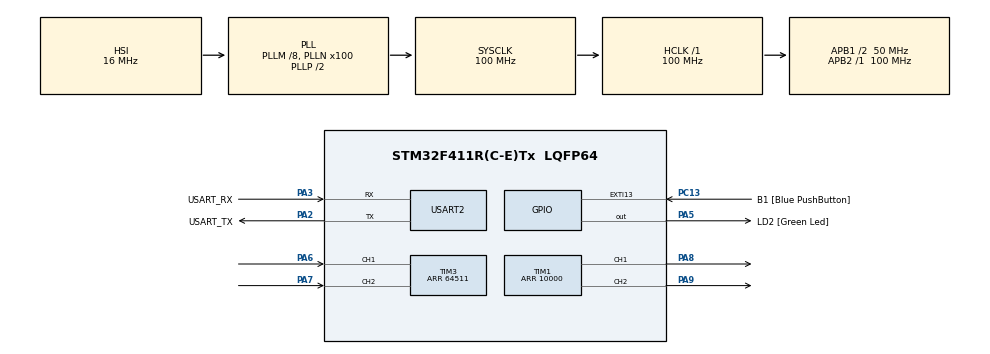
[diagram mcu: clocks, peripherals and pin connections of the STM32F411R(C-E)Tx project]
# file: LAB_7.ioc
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Mcu.Family=STM32F4
Mcu.Name=STM32F411R(C-E)Tx
Mcu.Package=LQFP64
NVIC.PriorityGroup=NVIC_PRIORITYGROUP_0
NVIC.TIM2_IRQn=true\:0\:0\:false\:false\:true\:true\:true
PA13.GPIO_Label=TMS
PA13.Mode=Serial_Wire
PA13.Signal=SYS_JTMS-SWDIO
PA14.GPIO_Label=TCK
PA14.Mode=Serial_Wire
PA14.Signal=SYS_JTCK-SWCLK
PA2.GPIO_Label=USART_TX
PA2.Mode=Asynchronous
PA2.Signal=USART2_TX
PA3.GPIO_Label=USART_RX
PA3.Mode=Asynchronous
PA3.Signal=USART2_RX
PA5.GPIO_Label=LD2 [Green Led]
PA5.Signal=GPIO_Output
PA6.Signal=S_TIM3_CH1
PA7.Signal=S_TIM3_CH2
PA8.Signal=S_TIM1_CH1
PA9.Signal=S_TIM1_CH2
PB3.GPIO_Label=SWO
PB3.Signal=SYS_JTDO-SWO
PC13-ANTI_TAMP.GPIO_Label=B1 [Blue PushButton]
PC13-ANTI_TAMP.GPIO_ModeDefaultEXTI=GPIO_MODE_IT_FALLING
PC13-ANTI_TAMP.Signal=GPXTI13
PC14-OSC32_IN.Mode=LSE-External-Oscillator
PC14-OSC32_IN.Signal=RCC_OSC32_IN
PC15-OSC32_OUT.Mode=LSE-External-Oscillator
PC15-OSC32_OUT.Signal=RCC_OSC32_OUT
PH0\ -\ OSC_IN.Mode=HSE-External-Clock-Source
PH0\ -\ OSC_IN.Signal=RCC_OSC_IN
PH1\ -\ OSC_OUT.Mode=HSE-External-Clock-Source
PH1\ -\ OSC_OUT.Signal=RCC_OSC_OUT
ProjectManager.HeapSize=0x200
ProjectManager.StackSize=0x400
ProjectManager.TargetToolchain=STM32CubeIDE
RCC.48MHZClocksFreq_Value=50000000
RCC.AHBFreq_Value=100000000
RCC.APB1CLKDivider=RCC_HCLK_DIV2
RCC.APB1Freq_Value=50000000
RCC.APB1TimFreq_Value=100000000
RCC.APB2Freq_Value=100000000
RCC.APB2TimFreq_Value=100000000
RCC.CortexFreq_Value=100000000
RCC.FLatency-AdvancedSettings=FLASH_LATENCY_3
RCC.HCLKFreq_Value=100000000
RCC.HSE_VALUE=8000000
RCC.HSI_VALUE=16000000
RCC.PLLM=8
RCC.PLLN=100
RCC.SYSCLKFreq_VALUE=100000000
RCC.SYSCLKSource=RCC_SYSCLKSOURCE_PLLCLK
RCC.VCOOutputFreq_Value=200000000
SH.S_TIM1_CH1.0=TIM1_CH1,PWM Generation1 CH1
SH.S_TIM1_CH2.0=TIM1_CH2,PWM Generation2 CH2
SH.S_TIM3_CH1.0=TIM3_CH1,Encoder_Interface
SH.S_TIM3_CH2.0=TIM3_CH2,Encoder_Interface
TIM1.Channel-PWM\ Generation1\ CH1=TIM_CHANNEL_1
TIM1.Channel-PWM\ Generation2\ CH2=TIM_CHANNEL_2
TIM1.Period=10000
TIM2.Prescaler=99
TIM3.EncoderMode=TIM_ENCODERMODE_TI12
TIM3.IC1Filter=2
TIM3.IC2Filter=2
TIM3.Period=64511
USART2.VirtualMode=VM_ASYNC
VP_TIM1_VS_ClockSourceINT.Mode=Internal
VP_TIM2_VS_ClockSourceINT.Mode=Internal
board=NUCLEO-F411RE

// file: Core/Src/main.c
/* USER CODE BEGIN Header */
/**
  ******************************************************************************
  * @file           : main.c
  * @brief          : Main program body
  ******************************************************************************
  * @attention
  *
  * <h2><center>&copy; Copyright (c) 2021 STMicroelectronics.
  * All rights reserved.</center></h2>
  *
  * This software component is licensed by ST under BSD 3-Clause license,
  * the "License"; You may not use this file except in compliance with the
  * License. You may obtain a copy of the License at:
  *                        opensource.org/licenses/BSD-3-Clause
  *
  ******************************************************************************
  */
/* USER CODE END Header */
#include "main.h"

TIM_HandleTypeDef htim1;
TIM_HandleTypeDef htim2;
TIM_HandleTypeDef htim3;

UART_HandleTypeDef huart2;

/* USER CODE BEGIN PV */
uint64_t _micros = 0;
float EncoderVel = 0;
uint64_t Timestamp_Encoder = 0;

uint16_t PWMOut = 0;
int16_t PWM = 0;
float Set_RPM = 0;
float Current_RPM = 0;

float error = 0;
float error_prev = 0;
float error_dot = 0;
float error_integal = 0;
float Kp = 1;
float Ki = 3;
float Kd = 3;
float Offset = 0;
/* USER CODE END PV */

void SystemClock_Config(void);
static void MX_GPIO_Init(void);
static void MX_USART2_UART_Init(void);
static void MX_TIM1_Init(void);
static void MX_TIM2_Init(void);
static void MX_TIM3_Init(void);
/* USER CODE BEGIN PFP */
uint64_t micros();
float EncoderVelocity_Update();

/* USER CODE END PFP */

int main(void)
{

  /* MCU Configuration--------------------------------------------------------*/

  /* Reset of all peripherals, Initializes the Flash interface and the Systick. */
  HAL_Init();

  /* Configure the system clock */
  SystemClock_Config();

  /* Initialize all configured peripherals */
  MX_GPIO_Init();
  MX_USART2_UART_Init();
  MX_TIM1_Init();
  MX_TIM2_Init();
  MX_TIM3_Init();
  /* USER CODE BEGIN 2 */

  HAL_TIM_Base_Start_IT(&htim2);
  HAL_TIM_Encoder_Start(&htim3, TIM_CHANNEL_ALL);

  HAL_TIM_Base_Start(&htim1);
  HAL_TIM_PWM_Start(&htim1, TIM_CHANNEL_1);
  HAL_TIM_PWM_Start(&htim1, TIM_CHANNEL_2);

  /* USER CODE END 2 */

  /* Infinite loop */
  while (1)
  {

    /* USER CODE BEGIN 3 */
	  if (micros() - Timestamp_Encoder >= 1000)
	  {
	  	Timestamp_Encoder = micros();
	  	EncoderVel = (EncoderVel * 999 + EncoderVelocity_Update()) / 1000.0;
	  	Current_RPM = EncoderVel *60 / 3072.0;
	  			//convert P/S to RPM.

	  	error = Set_RPM - Current_RPM;
	  	error_dot = (error - error_prev)*1000.0;
	  	error_integal = error_integal + (error/1000.0);

	  	PWM = (error*Kp) + (error_integal*Ki) + (error_dot*Kd) + Offset;
	  	error_prev = error;

	  	if(PWM > 0 ){
	  		PWMOut = PWM;
	  		__HAL_TIM_SET_COMPARE(&htim1, TIM_CHANNEL_1, PWMOut);
	  		__HAL_TIM_SET_COMPARE(&htim1, TIM_CHANNEL_2, 0);
	  	}
	  	if(PWM == 0){
	  		__HAL_TIM_SET_COMPARE(&htim1, TIM_CHANNEL_1, 0);
	  		__HAL_TIM_SET_COMPARE(&htim1, TIM_CHANNEL_2, 0);
	  		PWMOut = 0;
	  	}
	  	if (PWM < 0) {
	  		PWMOut = PWM*(-1);
	  		__HAL_TIM_SET_COMPARE(&htim1, TIM_CHANNEL_1, 0);
	  		__HAL_TIM_SET_COMPARE(&htim1, TIM_CHANNEL_2, PWMOut);
		}
	  }
  }
  /* USER CODE END 3 */
}

void SystemClock_Config(void)
{
  RCC_OscInitTypeDef RCC_OscInitStruct = {0};
  RCC_ClkInitTypeDef RCC_ClkInitStruct = {0};

  /** Configure the main internal regulator output voltage
  */
  __HAL_RCC_PWR_CLK_ENABLE();
  __HAL_PWR_VOLTAGESCALING_CONFIG(PWR_REGULATOR_VOLTAGE_SCALE1);
  /** Initializes the RCC Oscillators according to the specified parameters
  * in the RCC_OscInitTypeDef structure.
  */
  RCC_OscInitStruct.OscillatorType = RCC_OSCILLATORTYPE_HSI;
  RCC_OscInitStruct.HSIState = RCC_HSI_ON;
  RCC_OscInitStruct.HSICalibrationValue = RCC_HSICALIBRATION_DEFAULT;
  RCC_OscInitStruct.PLL.PLLState = RCC_PLL_ON;
  RCC_OscInitStruct.PLL.PLLSource = RCC_PLLSOURCE_HSI;
  RCC_OscInitStruct.PLL.PLLM = 8;
  RCC_OscInitStruct.PLL.PLLN = 100;
  RCC_OscInitStruct.PLL.PLLP = RCC_PLLP_DIV2;
  RCC_OscInitStruct.PLL.PLLQ = 4;
  if (HAL_RCC_OscConfig(&RCC_OscInitStruct) != HAL_OK)
  {
    Error_Handler();
  }
  /** Initializes the CPU, AHB and APB buses clocks
  */
  RCC_ClkInitStruct.ClockType = RCC_CLOCKTYPE_HCLK|RCC_CLOCKTYPE_SYSCLK
                              |RCC_CLOCKTYPE_PCLK1|RCC_CLOCKTYPE_PCLK2;
  RCC_ClkInitStruct.SYSCLKSource = RCC_SYSCLKSOURCE_PLLCLK;
  RCC_ClkInitStruct.AHBCLKDivider = RCC_SYSCLK_DIV1;
  RCC_ClkInitStruct.APB1CLKDivider = RCC_HCLK_DIV2;
  RCC_ClkInitStruct.APB2CLKDivider = RCC_HCLK_DIV1;

  if (HAL_RCC_ClockConfig(&RCC_ClkInitStruct, FLASH_LATENCY_3) != HAL_OK)
  {
    Error_Handler();
  }
}

static void MX_TIM1_Init(void)
{

  TIM_ClockConfigTypeDef sClockSourceConfig = {0};
  TIM_MasterConfigTypeDef sMasterConfig = {0};
  TIM_OC_InitTypeDef sConfigOC = {0};
  TIM_BreakDeadTimeConfigTypeDef sBreakDeadTimeConfig = {0};

  htim1.Instance = TIM1;
  htim1.Init.Prescaler = 0;
  htim1.Init.CounterMode = TIM_COUNTERMODE_UP;
  htim1.Init.Period = 10000;
  htim1.Init.ClockDivision = TIM_CLOCKDIVISION_DIV1;
  htim1.Init.RepetitionCounter = 0;
  htim1.Init.AutoReloadPreload = TIM_AUTORELOAD_PRELOAD_DISABLE;
  if (HAL_TIM_Base_Init(&htim1) != HAL_OK)
  {
    Error_Handler();
  }
  sClockSourceConfig.ClockSource = TIM_CLOCKSOURCE_INTERNAL;
  if (HAL_TIM_ConfigClockSource(&htim1, &sClockSourceConfig) != HAL_OK)
  {
    Error_Handler();
  }
  if (HAL_TIM_PWM_Init(&htim1) != HAL_OK)
  {
    Error_Handler();
  }
  sMasterConfig.MasterOutputTrigger = TIM_TRGO_RESET;
  sMasterConfig.MasterSlaveMode = TIM_MASTERSLAVEMODE_DISABLE;
  if (HAL_TIMEx_MasterConfigSynchronization(&htim1, &sMasterConfig) != HAL_OK)
  {
    Error_Handler();
  }
  sConfigOC.OCMode = TIM_OCMODE_PWM1;
  sConfigOC.Pulse = 0;
  sConfigOC.OCPolarity = TIM_OCPOLARITY_HIGH;
  sConfigOC.OCNPolarity = TIM_OCNPOLARITY_HIGH;
  sConfigOC.OCFastMode = TIM_OCFAST_DISABLE;
  sConfigOC.OCIdleState = TIM_OCIDLESTATE_RESET;
  sConfigOC.OCNIdleState = TIM_OCNIDLESTATE_RESET;
  if (HAL_TIM_PWM_ConfigChannel(&htim1, &sConfigOC, TIM_CHANNEL_1) != HAL_OK)
  {
    Error_Handler();
  }
  if (HAL_TIM_PWM_ConfigChannel(&htim1, &sConfigOC, TIM_CHANNEL_2) != HAL_OK)
  {
    Error_Handler();
  }
  sBreakDeadTimeConfig.OffStateRunMode = TIM_OSSR_DISABLE;
  sBreakDeadTimeConfig.OffStateIDLEMode = TIM_OSSI_DISABLE;
  sBreakDeadTimeConfig.LockLevel = TIM_LOCKLEVEL_OFF;
  sBreakDeadTimeConfig.DeadTime = 0;
  sBreakDeadTimeConfig.BreakState = TIM_BREAK_DISABLE;
  sBreakDeadTimeConfig.BreakPolarity = TIM_BREAKPOLARITY_HIGH;
  sBreakDeadTimeConfig.AutomaticOutput = TIM_AUTOMATICOUTPUT_DISABLE;
  if (HAL_TIMEx_ConfigBreakDeadTime(&htim1, &sBreakDeadTimeConfig) != HAL_OK)
  {
    Error_Handler();
  }
  HAL_TIM_MspPostInit(&htim1);

}

static void MX_TIM2_Init(void)
{

  TIM_ClockConfigTypeDef sClockSourceConfig = {0};
  TIM_MasterConfigTypeDef sMasterConfig = {0};

  htim2.Instance = TIM2;
  htim2.Init.Prescaler = 99;
  htim2.Init.CounterMode = TIM_COUNTERMODE_UP;
  htim2.Init.Period = 4294967295;
  htim2.Init.ClockDivision = TIM_CLOCKDIVISION_DIV1;
  htim2.Init.AutoReloadPreload = TIM_AUTORELOAD_PRELOAD_DISABLE;
  if (HAL_TIM_Base_Init(&htim2) != HAL_OK)
  {
    Error_Handler();
  }
  sClockSourceConfig.ClockSource = TIM_CLOCKSOURCE_INTERNAL;
  if (HAL_TIM_ConfigClockSource(&htim2, &sClockSourceConfig) != HAL_OK)
  {
    Error_Handler();
  }
  sMasterConfig.MasterOutputTrigger = TIM_TRGO_RESET;
  sMasterConfig.MasterSlaveMode = TIM_MASTERSLAVEMODE_DISABLE;
  if (HAL_TIMEx_MasterConfigSynchronization(&htim2, &sMasterConfig) != HAL_OK)
  {
    Error_Handler();
  }

}

static void MX_TIM3_Init(void)
{

  TIM_Encoder_InitTypeDef sConfig = {0};
  TIM_MasterConfigTypeDef sMasterConfig = {0};

  htim3.Instance = TIM3;
  htim3.Init.Prescaler = 0;
  htim3.Init.CounterMode = TIM_COUNTERMODE_UP;
  htim3.Init.Period = 64511;
  htim3.Init.ClockDivision = TIM_CLOCKDIVISION_DIV1;
  htim3.Init.AutoReloadPreload = TIM_AUTORELOAD_PRELOAD_DISABLE;
  sConfig.EncoderMode = TIM_ENCODERMODE_TI12;
  sConfig.IC1Polarity = TIM_ICPOLARITY_RISING;
  sConfig.IC1Selection = TIM_ICSELECTION_DIRECTTI;
  sConfig.IC1Prescaler = TIM_ICPSC_DIV1;
  sConfig.IC1Filter = 2;
  sConfig.IC2Polarity = TIM_ICPOLARITY_RISING;
  sConfig.IC2Selection = TIM_ICSELECTION_DIRECTTI;
  sConfig.IC2Prescaler = TIM_ICPSC_DIV1;
  sConfig.IC2Filter = 2;
  if (HAL_TIM_Encoder_Init(&htim3, &sConfig) != HAL_OK)
  {
    Error_Handler();
  }
  sMasterConfig.MasterOutputTrigger = TIM_TRGO_RESET;
  sMasterConfig.MasterSlaveMode = TIM_MASTERSLAVEMODE_DISABLE;
  if (HAL_TIMEx_MasterConfigSynchronization(&htim3, &sMasterConfig) != HAL_OK)
  {
    Error_Handler();
  }

}

static void MX_USART2_UART_Init(void)
{

  huart2.Instance = USART2;
  huart2.Init.BaudRate = 115200;
  huart2.Init.WordLength = UART_WORDLENGTH_8B;
  huart2.Init.StopBits = UART_STOPBITS_1;
  huart2.Init.Parity = UART_PARITY_NONE;
  huart2.Init.Mode = UART_MODE_TX_RX;
  huart2.Init.HwFlowCtl = UART_HWCONTROL_NONE;
  huart2.Init.OverSampling = UART_OVERSAMPLING_16;
  if (HAL_UART_Init(&huart2) != HAL_OK)
  {
    Error_Handler();
  }

}

static void MX_GPIO_Init(void)
{
  GPIO_InitTypeDef GPIO_InitStruct = {0};

  /* GPIO Ports Clock Enable */
  __HAL_RCC_GPIOC_CLK_ENABLE();
  __HAL_RCC_GPIOH_CLK_ENABLE();
  __HAL_RCC_GPIOA_CLK_ENABLE();
  __HAL_RCC_GPIOB_CLK_ENABLE();

  /*Configure GPIO pin Output Level */
  HAL_GPIO_WritePin(LD2_GPIO_Port, LD2_Pin, GPIO_PIN_RESET);

  /*Configure GPIO pin : B1_Pin */
  GPIO_InitStruct.Pin = B1_Pin;
  GPIO_InitStruct.Mode = GPIO_MODE_IT_FALLING;
  GPIO_InitStruct.Pull = GPIO_NOPULL;
  HAL_GPIO_Init(B1_GPIO_Port, &GPIO_InitStruct);

  /*Configure GPIO pin : LD2_Pin */
  GPIO_InitStruct.Pin = LD2_Pin;
  GPIO_InitStruct.Mode = GPIO_MODE_OUTPUT_PP;
  GPIO_InitStruct.Pull = GPIO_NOPULL;
  GPIO_InitStruct.Speed = GPIO_SPEED_FREQ_LOW;
  HAL_GPIO_Init(LD2_GPIO_Port, &GPIO_InitStruct);

}

/* USER CODE BEGIN 4 */
#define  HTIM_ENCODER htim3
#define  MAX_SUBPOSITION_OVERFLOW 1536
#define  MAX_ENCODER_PERIOD 64512

float EncoderVelocity_Update()
{
	//Save Last state
	static uint32_t EncoderLastPosition = 0;
	static uint64_t EncoderLastTimestamp = 0;

	//read data
	uint32_t EncoderNowPosition = HTIM_ENCODER.Instance->CNT;
	uint64_t EncoderNowTimestamp = micros();

	int32_t EncoderPositionDiff;
	uint64_t EncoderTimeDiff;

	EncoderTimeDiff = EncoderNowTimestamp - EncoderLastTimestamp;
	EncoderPositionDiff = EncoderNowPosition - EncoderLastPosition;

	//compensate overflow and underflow
	if (EncoderPositionDiff >= MAX_SUBPOSITION_OVERFLOW)
	{
		EncoderPositionDiff -= MAX_ENCODER_PERIOD;
	}
	else if (-EncoderPositionDiff >= MAX_SUBPOSITION_OVERFLOW)
	{
		EncoderPositionDiff += MAX_ENCODER_PERIOD;
	}

	//Update Position and time
	EncoderLastPosition = EncoderNowPosition;
	EncoderLastTimestamp = EncoderNowTimestamp;

	//Calculate velocity
	//EncoderTimeDiff is in uS
	return (EncoderPositionDiff * 1000000) / (float) EncoderTimeDiff;

}

void HAL_TIM_PeriodElapsedCallback(TIM_HandleTypeDef *htim)
{
	if (htim == &htim2)
	{
		_micros += 4294967295;
	}
}
uint64_t micros()
{
	return _micros + htim2.Instance->CNT;
}
/* USER CODE END 4 */

void Error_Handler(void)
{
  __disable_irq();
  while (1)
  {
  }
}

/************************ (C) COPYRIGHT STMicroelectronics *****END OF FILE****/
